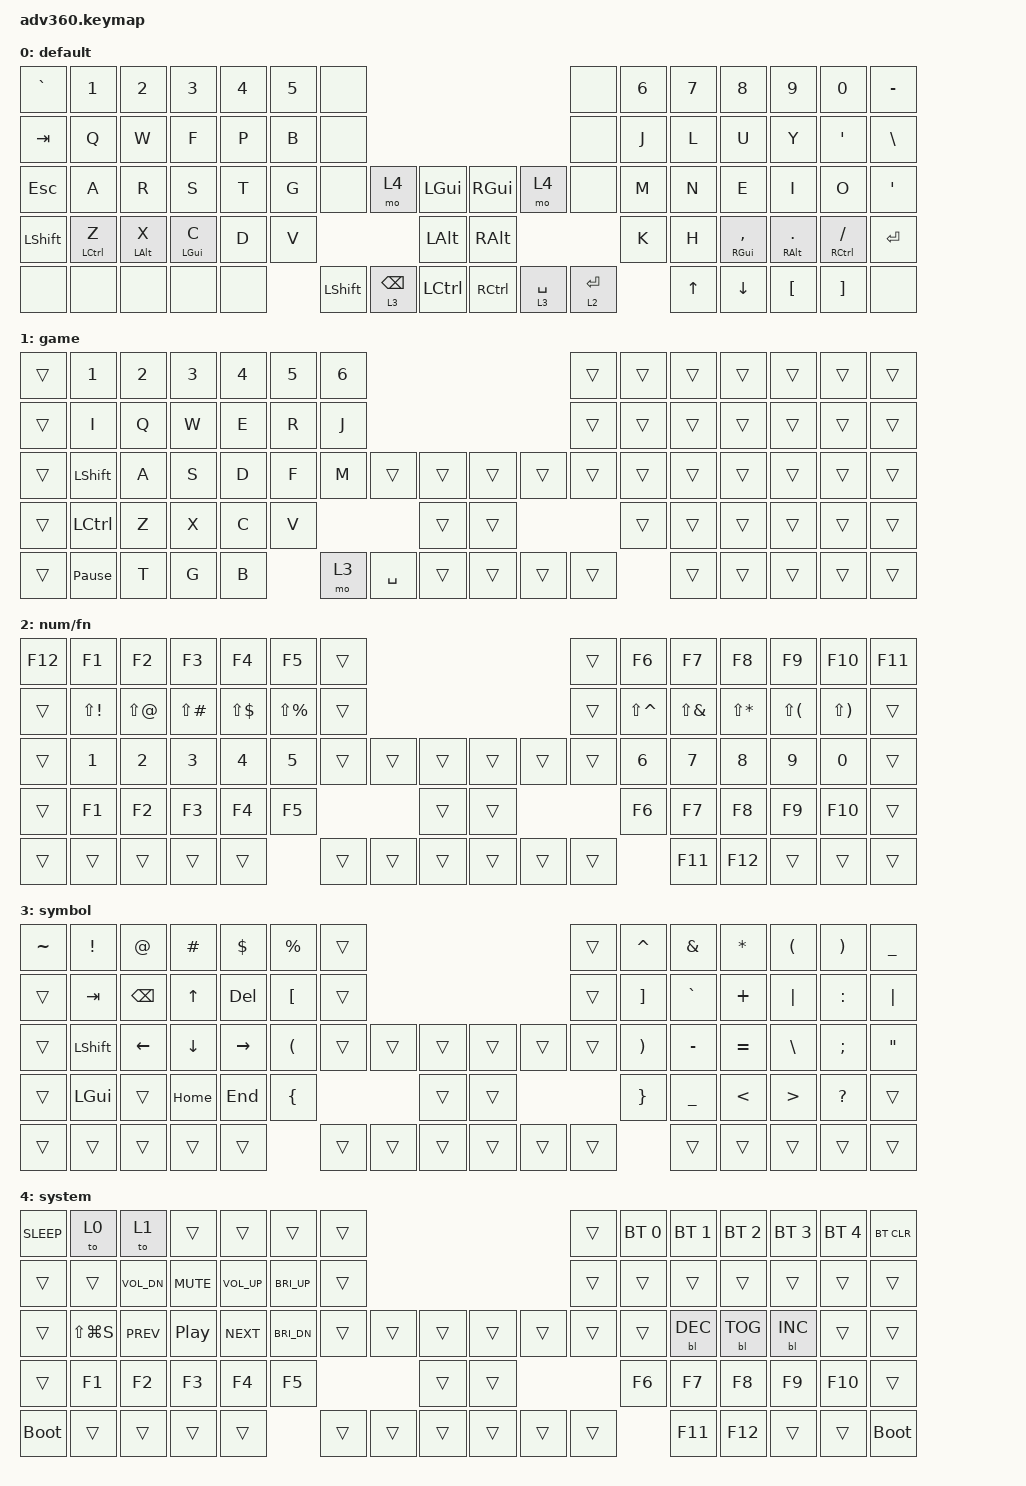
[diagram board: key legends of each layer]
#include <behaviors.dtsi>
#include <dt-bindings/zmk/backlight.h>
#include <dt-bindings/zmk/bt.h>
#include <dt-bindings/zmk/keys.h>

&lt {
    flavor = "balanced";
    quick-tap-ms = <200>;
};

/ {
    behaviors {
        #include "macros.dtsi"
      #include "version.dtsi"
      #ifndef VERSION_MACRO

        macro_ver: macro_ver {
            compatible = "zmk,behavior-macro";
            label = "macro_version";
            #binding-cells = <0>;
            bindings = <&kp RET>;
        };

        #endif

        hrmr: hrmr {
            compatible = "zmk,behavior-hold-tap";
            label = "HRMR";
            #binding-cells = <2>;
            tapping-term-ms = <300>;
            flavor = "balanced";
            bindings = <&kp>, <&kp>;

            quick-tap-ms = <200>;
            require-prior-idle-ms = <200>;
            hold-trigger-on-release;
            hold-trigger-key-positions = <0 1 2 3 4 5 6 14 15 16 17 18 19 20 28 29 30 31 32 33 34 46 47 48 49 50 51 60 61 62 63 64>;
        };

        hrml: hrml {
            compatible = "zmk,behavior-hold-tap";
            label = "HRML";
            #binding-cells = <2>;
            tapping-term-ms = <300>;
            flavor = "balanced";
            bindings = <&kp>, <&kp>;

            quick-tap-ms = <200>;
            require-prior-idle-ms = <200>;
            hold-trigger-on-release;
        };

        lth: lth {
            compatible = "zmk,behavior-hold-tap";
            label = "LT Prefer Hold";
            bindings = <&mo>, <&kp>;

            #binding-cells = <2>;
            tapping-term-ms = <200>;
            quick-tap-ms = <200>;
        };
    };

    macros {
    };

    combos {
        compatible = "zmk,combos";

        system {
            bindings = <&mo 4>;
            key-positions = <66 69>;
        };
    };

    keymap {
        compatible = "zmk,keymap";

        default {
            bindings = <
&kp GRAVE  &kp N1         &kp N2        &kp N3        &kp N4  &kp N5  &none                                                                   &none         &kp N6  &kp N7  &kp N8            &kp N9          &kp N0             &kp MINUS
&kp TAB    &kp Q          &kp W         &kp F         &kp P   &kp B   &none                                                                   &none         &kp J   &kp L   &kp U             &kp Y           &kp SQT            &kp BSLH
&kp ESC    &kp A          &kp R         &kp S         &kp T   &kp G   &none           &mo 4            &kp LGUI       &kp RGUI   &mo 4        &none         &kp M   &kp N   &kp E             &kp I           &kp O              &kp SQT
&kp LSHFT  &hrml LCTRL Z  &hrml LALT X  &hrml LGUI C  &kp D   &kp V                                    &kp LALT       &kp RALT                              &kp K   &kp H   &hrmr RGUI COMMA  &hrmr RALT DOT  &hrmr RCTRL SLASH  &kp ENTER
&none      &none          &none         &none         &none           &kp LEFT_SHIFT  &lt 3 BACKSPACE  &kp LCTRL      &kp RCTRL  &lt 3 SPACE  &lth 2 ENTER          &kp UP  &kp DOWN          &kp LBKT        &kp RBKT           &none
            >;

            label = "default";
        };

        game {
            bindings = <
&trans  &kp NUMBER_1      &kp NUMBER_2  &kp NUMBER_3  &kp NUMBER_4  &kp NUMBER_5  &kp NUMBER_6                                         &trans  &trans  &trans  &trans  &trans  &trans  &trans
&trans  &kp I             &kp Q         &kp W         &kp E         &kp R         &kp J                                                &trans  &trans  &trans  &trans  &trans  &trans  &trans
&trans  &kp LSHFT         &kp A         &kp S         &kp D         &kp F         &kp M         &trans     &trans      &trans  &trans  &trans  &trans  &trans  &trans  &trans  &trans  &trans
&trans  &kp LEFT_CONTROL  &kp Z         &kp X         &kp C         &kp V                                  &trans      &trans                  &trans  &trans  &trans  &trans  &trans  &trans
&trans  &kp PAUSE_BREAK   &kp T         &kp G         &kp B                       &mo 3         &kp SPACE  &trans      &trans  &trans  &trans          &trans  &trans  &trans  &trans  &trans
            >;

            label = "game";
        };

        number {
            bindings = <
&kp F12  &kp F1        &kp F2      &kp F3         &kp F4        &kp F5         &trans                                      &trans  &kp F6         &kp F7        &kp F8        &kp F9        &kp F10       &kp F11
&trans   &kp LS(EXCL)  &kp LS(AT)  &kp LS(POUND)  &kp LS(DLLR)  &kp LS(PRCNT)  &trans                                      &trans  &kp LS(CARET)  &kp LS(AMPS)  &kp LS(STAR)  &kp LS(LPAR)  &kp LS(RPAR)  &trans
&trans   &kp N1        &kp N2      &kp N3         &kp N4        &kp N5         &trans  &trans  &trans      &trans  &trans  &trans  &kp N6         &kp N7        &kp N8        &kp N9        &kp N0        &trans
&trans   &kp F1        &kp F2      &kp F3         &kp F4        &kp F5                         &trans      &trans                  &kp F6         &kp F7        &kp F8        &kp F9        &kp F10       &trans
&trans   &trans        &trans      &trans         &trans                       &trans  &trans  &trans      &trans  &trans  &trans                 &kp F11       &kp F12       &trans        &trans        &trans
            >;

            label = "num/fn";
        };

        symbol {
            bindings = <
&kp TILDE  &kp EXCLAMATION  &kp AT_SIGN    &kp POUND  &kp DOLLAR  &kp PERCENT           &trans                                      &trans  &kp CARET              &kp AMPERSAND   &kp ASTERISK   &kp LEFT_PARENTHESIS  &kp RIGHT_PARENTHESIS  &kp UNDERSCORE
&trans     &kp TAB          &kp BACKSPACE  &kp UP     &kp DELETE  &kp LEFT_BRACKET      &trans                                      &trans  &kp RIGHT_BRACKET      &kp GRAVE       &kp PLUS       &kp PIPE              &kp COLON              &kp PIPE
&trans     &kp LEFT_SHIFT   &kp LEFT       &kp DOWN   &kp RIGHT   &kp LEFT_PARENTHESIS  &trans  &trans  &trans      &trans  &trans  &trans  &kp RIGHT_PARENTHESIS  &kp MINUS       &kp EQUAL      &kp BACKSLASH         &kp SEMI               &kp DOUBLE_QUOTES
&trans     &kp LGUI         &trans         &kp HOME   &kp END     &kp LEFT_BRACE                        &trans      &trans                  &kp RIGHT_BRACE        &kp UNDERSCORE  &kp LESS_THAN  &kp GREATER_THAN      &kp QUESTION           &trans
&trans     &trans           &trans         &trans     &trans                            &trans  &trans  &trans      &trans  &trans  &trans                         &trans          &trans         &trans                &trans                 &trans
            >;

            label = "symbol";
        };

        system {
            bindings = <
&kp C_SLEEP  &to 0          &to 1         &trans            &trans        &trans        &trans                                      &trans  &bt BT_SEL 0  &bt BT_SEL 1  &bt BT_SEL 2  &bt BT_SEL 3  &bt BT_SEL 4  &bt BT_CLR
&trans       &trans         &kp C_VOL_DN  &kp C_MUTE        &kp C_VOL_UP  &kp C_BRI_UP  &trans                                      &trans  &trans        &trans        &trans        &trans        &trans        &trans
&trans       &kp LS(LG(S))  &kp C_PREV    &kp C_PLAY_PAUSE  &kp C_NEXT    &kp C_BRI_DN  &trans  &trans  &trans      &trans  &trans  &trans  &trans        &bl BL_DEC    &bl BL_TOG    &bl BL_INC    &trans        &trans
&trans       &kp F1         &kp F2        &kp F3            &kp F4        &kp F5                        &trans      &trans                  &kp F6        &kp F7        &kp F8        &kp F9        &kp F10       &trans
&bootloader  &trans         &trans        &trans            &trans                      &trans  &trans  &trans      &trans  &trans  &trans                &kp F11       &kp F12       &trans        &trans        &bootloader
            >;

            label = "system";
        };
    };
};
